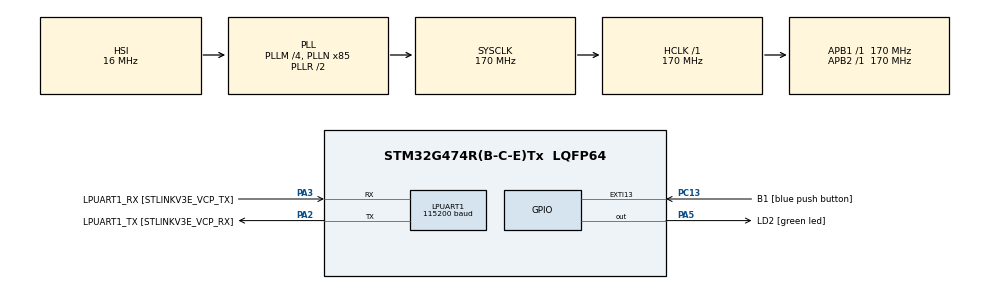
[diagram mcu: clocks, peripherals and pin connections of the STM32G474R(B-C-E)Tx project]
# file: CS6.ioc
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ARM.CMSIS-DSP.1.15.0.CMSISJjDSP=Source
ARM.CMSIS.6.0.0.CMSISJjCORE=true
LPUART1.BaudRate=115200
LPUART1.WordLength=UART_WORDLENGTH_8B
Mcu.Family=STM32G4
Mcu.Name=STM32G474R(B-C-E)Tx
Mcu.Package=LQFP64
NVIC.EXTI15_10_IRQn=true\:0\:0\:false\:false\:true\:true\:true\:true
NVIC.PriorityGroup=NVIC_PRIORITYGROUP_4
PA13.GPIO_Label=T_SWDIO
PA13.Mode=Trace_Asynchronous_SW
PA13.Signal=SYS_JTMS-SWDIO
PA14.GPIO_Label=T_SWCLK
PA14.Mode=Trace_Asynchronous_SW
PA14.Signal=SYS_JTCK-SWCLK
PA2.GPIO_Label=LPUART1_TX [STLINKV3E_VCP_RX]
PA2.Mode=Asynchronous
PA2.Signal=LPUART1_TX
PA3.GPIO_Label=LPUART1_RX [STLINKV3E_VCP_TX]
PA3.Mode=Asynchronous
PA3.Signal=LPUART1_RX
PA5.GPIO_Label=LD2 [green led]
PA5.Signal=GPIO_Output
PB3.GPIO_Label=T_SWO
PB3.Mode=Trace_Asynchronous_SW
PB3.Signal=SYS_JTDO-SWO
PC13.GPIO_Label=B1 [blue push button]
PC13.Signal=GPXTI13
PC14-OSC32_IN.Mode=LSE-External-Oscillator
PC14-OSC32_IN.Signal=RCC_OSC32_IN
PC15-OSC32_OUT.Mode=LSE-External-Oscillator
PC15-OSC32_OUT.Signal=RCC_OSC32_OUT
PF0-OSC_IN.Mode=HSE-External-Oscillator
PF0-OSC_IN.Signal=RCC_OSC_IN
PF1-OSC_OUT.Mode=HSE-External-Oscillator
PF1-OSC_OUT.Signal=RCC_OSC_OUT
ProjectManager.HeapSize=0x200
ProjectManager.StackSize=0x400
ProjectManager.TargetToolchain=STM32CubeIDE
RCC.ADC12Freq_Value=170000000
RCC.ADC345Freq_Value=170000000
RCC.AHBFreq_Value=170000000
RCC.APB1Freq_Value=170000000
RCC.APB1TimFreq_Value=170000000
RCC.APB2Freq_Value=170000000
RCC.APB2TimFreq_Value=170000000
RCC.CortexFreq_Value=170000000
RCC.EXTERNAL_CLOCK_VALUE=12288000
RCC.HCLKFreq_Value=170000000
RCC.HSE_VALUE=24000000
RCC.HSI48_VALUE=48000000
RCC.HSI_VALUE=16000000
RCC.PLLM=RCC_PLLM_DIV4
RCC.PLLN=85
RCC.RTCClockSelection=RCC_RTCCLKSOURCE_LSE
RCC.SYSCLKFreq_VALUE=170000000
RCC.SYSCLKSource=RCC_SYSCLKSOURCE_PLLCLK
RCC.USBFreq_Value=170000000
RCC.VCOOutputFreq_Value=340000000
VP_ARM.CMSIS-DSP_VS_CMSISJjDSP_1.15.0_1.15.0.Mode=CMSISJjDSP
VP_ARM.CMSIS_VS_CMSISJjCORE_6.0.0_6.0.0.Mode=CMSISJjCORE
VP_SYS_VS_DBSignals.Mode=DisableDeadBatterySignals
board=NUCLEO-G474RE

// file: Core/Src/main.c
/* USER CODE BEGIN Header */
/**
  ******************************************************************************
  * @file           : main.c
  * @brief          : Main program body
  ******************************************************************************
  * @attention
  *
  * Copyright (c) 2025 STMicroelectronics.
  * All rights reserved.
  *
  * This software is licensed under terms that can be found in the LICENSE file
  * in the root directory of this software component.
  * If no LICENSE file comes with this software, it is provided AS-IS.
  *
  ******************************************************************************
  */
/* USER CODE END Header */
#include "main.h"

/* USER CODE BEGIN Includes */
#include "arm_math.h"
/* USER CODE END Includes */

UART_HandleTypeDef hlpuart1;

/* USER CODE BEGIN PV */

// start Matrix
float32_t A_f32[16] = {
		1, 2, 3, 4,
		5, 6, 7, 8,
		9, 10, 11, 12,
		13, 14, 15, 16
};
arm_matrix_instance_f32 A;
float32_t B_f32[4] = {
		1,
		2,
		3,
		4
};
arm_matrix_instance_f32 B;

//Output and storage matrix
float32_t At_f32[16];// A transpose
arm_matrix_instance_f32 At;

float32_t AtmA_f32[16];// A transpose multiply A = tran(A) *A
arm_matrix_instance_f32 AtmA;

float32_t AaB_f32[16]; // A Addition B
arm_matrix_instance_f32 AaB;

float32_t AmB_f32[16]; // A multiply B
arm_matrix_instance_f32 AmB;

volatile arm_status CalcSt;

arm_pid_instance_f32 PID = {0};
float position =0;
float setposition =0;
float Vfeedback =0;

/* USER CODE END PV */

void SystemClock_Config(void);
static void MX_GPIO_Init(void);
static void MX_LPUART1_UART_Init(void);
/* USER CODE BEGIN PFP */
float PlantSimulation(float VIn);
/* USER CODE END PFP */

int main(void)
{

  /* MCU Configuration--------------------------------------------------------*/

  /* Reset of all peripherals, Initializes the Flash interface and the Systick. */
  HAL_Init();

  /* Configure the system clock */
  SystemClock_Config();

  /* Initialize all configured peripherals */
  MX_GPIO_Init();
  MX_LPUART1_UART_Init();
  /* USER CODE BEGIN 2 */
  //init all matrix
    arm_mat_init_f32(&A, 4, 4,(float32_t*) &A_f32);
    arm_mat_init_f32(&At, 4, 4, (float32_t*) &At_f32);
    arm_mat_init_f32(&AtmA, 4, 4, (float32_t*) &AtmA_f32);
    arm_mat_init_f32(&B, 4, 1, (float32_t*) &B_f32);
    arm_mat_init_f32(&AaB, 4, 4, (float32_t*) &AaB_f32);
    arm_mat_init_f32(&AmB, 4, 1, (float32_t*) &AmB_f32);

    PID.Kp =0.1;
    PID.Ki =0.00001;
    PID.Kd = 0.1;
    arm_pid_init_f32(&PID, 0);
  /* USER CODE END 2 */

  /* Infinite loop */
  while (1)
  {

    /* USER CODE BEGIN 3 */
	  static GPIO_PinState B1[2];
	  B1[0] = HAL_GPIO_ReadPin(B1_GPIO_Port, B1_Pin);
	  if(B1[0]== 0 && B1[1] == 1)
	  {

		  CalcSt = arm_mat_trans_f32(&A, &At);
		  CalcSt = arm_mat_mult_f32(&At, &A , &AtmA);
	  	  //wrong add
	  	  //CalcSt = arm_mat_add_f32(&A, &B, &AaB);
		  CalcSt = arm_mat_mult_f32(&A, &B, &AmB);

	  }
	  B1[1] = B1[0];

	  static uint32_t timestamp =0;
	  if(timestamp < HAL_GetTick())
	  {
		  timestamp = HAL_GetTick()+10;

		  Vfeedback = arm_pid_f32(&PID, setposition - position);
		  position = PlantSimulation(Vfeedback);
	  }
  }
  /* USER CODE END 3 */
}

void SystemClock_Config(void)
{
  RCC_OscInitTypeDef RCC_OscInitStruct = {0};
  RCC_ClkInitTypeDef RCC_ClkInitStruct = {0};

  /** Configure the main internal regulator output voltage
  */
  HAL_PWREx_ControlVoltageScaling(PWR_REGULATOR_VOLTAGE_SCALE1_BOOST);

  /** Initializes the RCC Oscillators according to the specified parameters
  * in the RCC_OscInitTypeDef structure.
  */
  RCC_OscInitStruct.OscillatorType = RCC_OSCILLATORTYPE_HSI;
  RCC_OscInitStruct.HSIState = RCC_HSI_ON;
  RCC_OscInitStruct.HSICalibrationValue = RCC_HSICALIBRATION_DEFAULT;
  RCC_OscInitStruct.PLL.PLLState = RCC_PLL_ON;
  RCC_OscInitStruct.PLL.PLLSource = RCC_PLLSOURCE_HSI;
  RCC_OscInitStruct.PLL.PLLM = RCC_PLLM_DIV4;
  RCC_OscInitStruct.PLL.PLLN = 85;
  RCC_OscInitStruct.PLL.PLLP = RCC_PLLP_DIV2;
  RCC_OscInitStruct.PLL.PLLQ = RCC_PLLQ_DIV2;
  RCC_OscInitStruct.PLL.PLLR = RCC_PLLR_DIV2;
  if (HAL_RCC_OscConfig(&RCC_OscInitStruct) != HAL_OK)
  {
    Error_Handler();
  }

  /** Initializes the CPU, AHB and APB buses clocks
  */
  RCC_ClkInitStruct.ClockType = RCC_CLOCKTYPE_HCLK|RCC_CLOCKTYPE_SYSCLK
                              |RCC_CLOCKTYPE_PCLK1|RCC_CLOCKTYPE_PCLK2;
  RCC_ClkInitStruct.SYSCLKSource = RCC_SYSCLKSOURCE_PLLCLK;
  RCC_ClkInitStruct.AHBCLKDivider = RCC_SYSCLK_DIV1;
  RCC_ClkInitStruct.APB1CLKDivider = RCC_HCLK_DIV1;
  RCC_ClkInitStruct.APB2CLKDivider = RCC_HCLK_DIV1;

  if (HAL_RCC_ClockConfig(&RCC_ClkInitStruct, FLASH_LATENCY_4) != HAL_OK)
  {
    Error_Handler();
  }
}

static void MX_LPUART1_UART_Init(void)
{

  hlpuart1.Instance = LPUART1;
  hlpuart1.Init.BaudRate = 115200;
  hlpuart1.Init.WordLength = UART_WORDLENGTH_8B;
  hlpuart1.Init.StopBits = UART_STOPBITS_1;
  hlpuart1.Init.Parity = UART_PARITY_NONE;
  hlpuart1.Init.Mode = UART_MODE_TX_RX;
  hlpuart1.Init.HwFlowCtl = UART_HWCONTROL_NONE;
  hlpuart1.Init.OneBitSampling = UART_ONE_BIT_SAMPLE_DISABLE;
  hlpuart1.Init.ClockPrescaler = UART_PRESCALER_DIV1;
  hlpuart1.AdvancedInit.AdvFeatureInit = UART_ADVFEATURE_NO_INIT;
  if (HAL_UART_Init(&hlpuart1) != HAL_OK)
  {
    Error_Handler();
  }
  if (HAL_UARTEx_SetTxFifoThreshold(&hlpuart1, UART_TXFIFO_THRESHOLD_1_8) != HAL_OK)
  {
    Error_Handler();
  }
  if (HAL_UARTEx_SetRxFifoThreshold(&hlpuart1, UART_RXFIFO_THRESHOLD_1_8) != HAL_OK)
  {
    Error_Handler();
  }
  if (HAL_UARTEx_DisableFifoMode(&hlpuart1) != HAL_OK)
  {
    Error_Handler();
  }

}

static void MX_GPIO_Init(void)
{
  GPIO_InitTypeDef GPIO_InitStruct = {0};

  /* GPIO Ports Clock Enable */
  __HAL_RCC_GPIOC_CLK_ENABLE();
  __HAL_RCC_GPIOF_CLK_ENABLE();
  __HAL_RCC_GPIOA_CLK_ENABLE();
  __HAL_RCC_GPIOB_CLK_ENABLE();

  /*Configure GPIO pin Output Level */
  HAL_GPIO_WritePin(LD2_GPIO_Port, LD2_Pin, GPIO_PIN_RESET);

  /*Configure GPIO pin : B1_Pin */
  GPIO_InitStruct.Pin = B1_Pin;
  GPIO_InitStruct.Mode = GPIO_MODE_IT_RISING;
  GPIO_InitStruct.Pull = GPIO_NOPULL;
  HAL_GPIO_Init(B1_GPIO_Port, &GPIO_InitStruct);

  /*Configure GPIO pin : LD2_Pin */
  GPIO_InitStruct.Pin = LD2_Pin;
  GPIO_InitStruct.Mode = GPIO_MODE_OUTPUT_PP;
  GPIO_InitStruct.Pull = GPIO_NOPULL;
  GPIO_InitStruct.Speed = GPIO_SPEED_FREQ_LOW;
  HAL_GPIO_Init(LD2_GPIO_Port, &GPIO_InitStruct);

  /* EXTI interrupt init*/
  HAL_NVIC_SetPriority(EXTI15_10_IRQn, 0, 0);
  HAL_NVIC_EnableIRQ(EXTI15_10_IRQn);

}

/* USER CODE BEGIN 4 */
float PlantSimulation(float VIn) // run with fix frequency
{
static float speed =0;
static float position =0;
float current= VIn - speed * 0.0123;
float torque = current * 0.456;
float acc = torque * 0.789;
speed += acc;
position += speed;
return position;
}
/* USER CODE END 4 */

void Error_Handler(void)
{
  __disable_irq();
  while (1)
  {
  }
}
